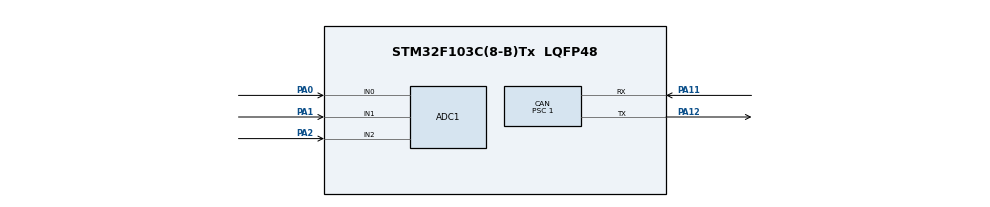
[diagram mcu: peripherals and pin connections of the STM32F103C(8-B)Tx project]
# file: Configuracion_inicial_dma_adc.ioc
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ADC1.Channel-1\#ChannelRegularConversion=ADC_CHANNEL_0
ADC1.Channel-2\#ChannelRegularConversion=ADC_CHANNEL_1
ADC1.Channel-3\#ChannelRegularConversion=ADC_CHANNEL_2
ADC1.ContinuousConvMode=ENABLE
ADC1.NbrOfConversion=3
ADC1.NbrOfConversionFlag=1
ADC1.Rank-1\#ChannelRegularConversion=1
ADC1.Rank-2\#ChannelRegularConversion=2
ADC1.Rank-3\#ChannelRegularConversion=3
ADC1.SamplingTime-1\#ChannelRegularConversion=ADC_SAMPLETIME_239CYCLES_5
ADC1.SamplingTime-2\#ChannelRegularConversion=ADC_SAMPLETIME_239CYCLES_5
ADC1.SamplingTime-3\#ChannelRegularConversion=ADC_SAMPLETIME_239CYCLES_5
ADC1.master=1
CAN.ABOM=ENABLE
CAN.BS1=CAN_BS1_13TQ
CAN.BS2=CAN_BS2_2TQ
CAN.CalculateBaudRate=500000
CAN.CalculateTimeBit=2000
CAN.CalculateTimeQuantum=125.0
CAN.Mode=CAN_MODE_LOOPBACK
CAN.Prescaler=1
Dma.ADC1.0.Direction=DMA_PERIPH_TO_MEMORY
Dma.ADC1.0.Instance=DMA1_Channel1
Dma.ADC1.0.MemDataAlignment=DMA_MDATAALIGN_HALFWORD
Dma.ADC1.0.MemInc=DMA_MINC_ENABLE
Dma.ADC1.0.Mode=DMA_CIRCULAR
Dma.ADC1.0.PeriphDataAlignment=DMA_PDATAALIGN_HALFWORD
Dma.ADC1.0.PeriphInc=DMA_PINC_DISABLE
Dma.ADC1.0.Priority=DMA_PRIORITY_VERY_HIGH
Dma.Request0=ADC1
Mcu.Family=STM32F1
Mcu.Name=STM32F103C(8-B)Tx
Mcu.Package=LQFP48
NVIC.DMA1_Channel1_IRQn=true\:0\:0\:false\:false\:true\:false\:true\:true
NVIC.PriorityGroup=NVIC_PRIORITYGROUP_4
NVIC.TIM2_IRQn=true\:1\:0\:true\:false\:true\:true\:true\:true
PA0-WKUP.Signal=ADCx_IN0
PA1.Signal=ADCx_IN1
PA11.Mode=CAN_Activate
PA11.Signal=CAN_RX
PA12.Mode=CAN_Activate
PA12.Signal=CAN_TX
PA13.Mode=Serial_Wire
PA13.Signal=SYS_JTMS-SWDIO
PA14.Mode=Serial_Wire
PA14.Signal=SYS_JTCK-SWCLK
PA2.Signal=ADCx_IN2
PD0-OSC_IN.Mode=HSE-External-Oscillator
PD0-OSC_IN.Signal=RCC_OSC_IN
PD1-OSC_OUT.Mode=HSE-External-Oscillator
PD1-OSC_OUT.Signal=RCC_OSC_OUT
ProjectManager.HeapSize=0x200
ProjectManager.StackSize=0x400
ProjectManager.TargetToolchain=CMake
RCC.APB1Freq_Value=8000000
RCC.APB2Freq_Value=8000000
RCC.SYSCLKSource=RCC_SYSCLKSOURCE_HSE
SH.ADCx_IN0.0=ADC1_IN0,IN0
SH.ADCx_IN1.0=ADC1_IN1,IN1
SH.ADCx_IN2.0=ADC1_IN2,IN2
TIM2.Period=499
TIM2.Prescaler=7999
VP_TIM2_VS_ClockSourceINT.Mode=Internal
board=custom

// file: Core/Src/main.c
/* USER CODE BEGIN Header */
/**
  ******************************************************************************
  * @file           : main.c
  * @brief          : Main program body
  ******************************************************************************
  * @attention
  *
  * Copyright (c) 2026 STMicroelectronics.
  * All rights reserved.
  *
  * This software is licensed under terms that can be found in the LICENSE file
  * in the root directory of this software component.
  * If no LICENSE file comes with this software, it is provided AS-IS.
  *
  ******************************************************************************
  */
/* USER CODE END Header */
#include "main.h"

ADC_HandleTypeDef hadc1;
DMA_HandleTypeDef hdma_adc1;

CAN_HandleTypeDef hcan;

TIM_HandleTypeDef htim2;

/* USER CODE BEGIN PV */
volatile uint16_t adc_buf[3];   // [0]=APPS1 [1]=APPS2 [2]=BSE.
CAN_TxHeaderTypeDef txHeader;   // ID, tipo, cantidad de bytes
uint8_t  txData[8];             // Contenido, se usan 6 de los 8
uint32_t txMailbox;             // "buzon" de la trama
/* USER CODE END PV */

void SystemClock_Config(void);
static void MX_GPIO_Init(void);
static void MX_DMA_Init(void);
static void MX_ADC1_Init(void);
static void MX_CAN_Init(void);
static void MX_TIM2_Init(void);

int main(void)
{

  /* MCU Configuration--------------------------------------------------------*/

  /* Reset of all peripherals, Initializes the Flash interface and the Systick. */
  HAL_Init();

  /* Configure the system clock */
  SystemClock_Config();

  /* Initialize all configured peripherals */
  MX_GPIO_Init();
  MX_DMA_Init();
  MX_ADC1_Init();
  MX_CAN_Init();
  MX_TIM2_Init();
  /* USER CODE BEGIN 2 */
  HAL_ADCEx_Calibration_Start(&hadc1); // autocalibracion adc
  HAL_ADC_Start_DMA(&hadc1, (uint32_t*)adc_buf, 3);    // arranca ADC + DMA

  txHeader.StdId = 0x100;              // ID de la trama
  txHeader.IDE   = CAN_ID_STD;         // ID estándar de 11 bits
  txHeader.RTR   = CAN_RTR_DATA;       // trama con datos
  txHeader.DLC   = 6;                  // lleva 6 bytes
  txHeader.TransmitGlobalTime = DISABLE;

  HAL_CAN_Start(&hcan);                // prende el CAN
  HAL_TIM_Base_Start_IT(&htim2);
  /* USER CODE END 2 */

  /* Infinite loop */
  while (1)
  {

  }
}

void SystemClock_Config(void)
{
  RCC_OscInitTypeDef RCC_OscInitStruct = {0};
  RCC_ClkInitTypeDef RCC_ClkInitStruct = {0};
  RCC_PeriphCLKInitTypeDef PeriphClkInit = {0};

  /** Initializes the RCC Oscillators according to the specified parameters
  * in the RCC_OscInitTypeDef structure.
  */
  RCC_OscInitStruct.OscillatorType = RCC_OSCILLATORTYPE_HSE;
  RCC_OscInitStruct.HSEState = RCC_HSE_ON;
  RCC_OscInitStruct.PLL.PLLState = RCC_PLL_NONE;
  if (HAL_RCC_OscConfig(&RCC_OscInitStruct) != HAL_OK)
  {
    Error_Handler();
  }

  /** Initializes the CPU, AHB and APB buses clocks
  */
  RCC_ClkInitStruct.ClockType = RCC_CLOCKTYPE_HCLK|RCC_CLOCKTYPE_SYSCLK
                              |RCC_CLOCKTYPE_PCLK1|RCC_CLOCKTYPE_PCLK2;
  RCC_ClkInitStruct.SYSCLKSource = RCC_SYSCLKSOURCE_HSE;
  RCC_ClkInitStruct.AHBCLKDivider = RCC_SYSCLK_DIV1;
  RCC_ClkInitStruct.APB1CLKDivider = RCC_HCLK_DIV1;
  RCC_ClkInitStruct.APB2CLKDivider = RCC_HCLK_DIV1;

  if (HAL_RCC_ClockConfig(&RCC_ClkInitStruct, FLASH_LATENCY_0) != HAL_OK)
  {
    Error_Handler();
  }
  PeriphClkInit.PeriphClockSelection = RCC_PERIPHCLK_ADC;
  PeriphClkInit.AdcClockSelection = RCC_ADCPCLK2_DIV2;
  if (HAL_RCCEx_PeriphCLKConfig(&PeriphClkInit) != HAL_OK)
  {
    Error_Handler();
  }
}

static void MX_ADC1_Init(void)
{

  ADC_ChannelConfTypeDef sConfig = {0};

  /** Common config
  */
  hadc1.Instance = ADC1;
  hadc1.Init.ScanConvMode = ADC_SCAN_ENABLE;
  hadc1.Init.ContinuousConvMode = ENABLE;
  hadc1.Init.DiscontinuousConvMode = DISABLE;
  hadc1.Init.ExternalTrigConv = ADC_SOFTWARE_START;
  hadc1.Init.DataAlign = ADC_DATAALIGN_RIGHT;
  hadc1.Init.NbrOfConversion = 3;
  if (HAL_ADC_Init(&hadc1) != HAL_OK)
  {
    Error_Handler();
  }

  /** Configure Regular Channel
  */
  sConfig.Channel = ADC_CHANNEL_0;
  sConfig.Rank = ADC_REGULAR_RANK_1;
  sConfig.SamplingTime = ADC_SAMPLETIME_239CYCLES_5;
  if (HAL_ADC_ConfigChannel(&hadc1, &sConfig) != HAL_OK)
  {
    Error_Handler();
  }

  /** Configure Regular Channel
  */
  sConfig.Channel = ADC_CHANNEL_1;
  sConfig.Rank = ADC_REGULAR_RANK_2;
  if (HAL_ADC_ConfigChannel(&hadc1, &sConfig) != HAL_OK)
  {
    Error_Handler();
  }

  /** Configure Regular Channel
  */
  sConfig.Channel = ADC_CHANNEL_2;
  sConfig.Rank = ADC_REGULAR_RANK_3;
  if (HAL_ADC_ConfigChannel(&hadc1, &sConfig) != HAL_OK)
  {
    Error_Handler();
  }

}

static void MX_CAN_Init(void)
{

  /* USER CODE BEGIN CAN_Init 0 */
  __HAL_RCC_CAN1_CLK_ENABLE();            // le da reloj al CAN (si no, no responde a nada)
  CLEAR_BIT(CAN1->MCR, CAN_MCR_SLEEP);    // lo despierta: saca el bit SLEEP
  /* USER CODE END CAN_Init 0 */

  hcan.Instance = CAN1;
  hcan.Init.Prescaler = 1;
  hcan.Init.Mode = CAN_MODE_LOOPBACK;
  hcan.Init.SyncJumpWidth = CAN_SJW_1TQ;
  hcan.Init.TimeSeg1 = CAN_BS1_13TQ;
  hcan.Init.TimeSeg2 = CAN_BS2_2TQ;
  hcan.Init.TimeTriggeredMode = DISABLE;
  hcan.Init.AutoBusOff = ENABLE;
  hcan.Init.AutoWakeUp = DISABLE;
  hcan.Init.AutoRetransmission = DISABLE;
  hcan.Init.ReceiveFifoLocked = DISABLE;
  hcan.Init.TransmitFifoPriority = DISABLE;
  if (HAL_CAN_Init(&hcan) != HAL_OK)
  {
    Error_Handler();
  }

}

static void MX_TIM2_Init(void)
{

  TIM_ClockConfigTypeDef sClockSourceConfig = {0};
  TIM_MasterConfigTypeDef sMasterConfig = {0};

  htim2.Instance = TIM2;
  htim2.Init.Prescaler = 7999;
  htim2.Init.CounterMode = TIM_COUNTERMODE_UP;
  htim2.Init.Period = 499;
  htim2.Init.ClockDivision = TIM_CLOCKDIVISION_DIV1;
  htim2.Init.AutoReloadPreload = TIM_AUTORELOAD_PRELOAD_DISABLE;
  if (HAL_TIM_Base_Init(&htim2) != HAL_OK)
  {
    Error_Handler();
  }
  sClockSourceConfig.ClockSource = TIM_CLOCKSOURCE_INTERNAL;
  if (HAL_TIM_ConfigClockSource(&htim2, &sClockSourceConfig) != HAL_OK)
  {
    Error_Handler();
  }
  sMasterConfig.MasterOutputTrigger = TIM_TRGO_RESET;
  sMasterConfig.MasterSlaveMode = TIM_MASTERSLAVEMODE_DISABLE;
  if (HAL_TIMEx_MasterConfigSynchronization(&htim2, &sMasterConfig) != HAL_OK)
  {
    Error_Handler();
  }

}

static void MX_DMA_Init(void)
{

  /* DMA controller clock enable */
  __HAL_RCC_DMA1_CLK_ENABLE();

  /* DMA interrupt init */
  /* DMA1_Channel1_IRQn interrupt configuration */
  HAL_NVIC_SetPriority(DMA1_Channel1_IRQn, 0, 0);
  HAL_NVIC_EnableIRQ(DMA1_Channel1_IRQn);

}

static void MX_GPIO_Init(void)
{

  /* GPIO Ports Clock Enable */
  __HAL_RCC_GPIOD_CLK_ENABLE();
  __HAL_RCC_GPIOA_CLK_ENABLE();

}

/* USER CODE BEGIN 4 */
/* USER CODE BEGIN 4 */
void HAL_TIM_PeriodElapsedCallback(TIM_HandleTypeDef *htim)
{
  if (htim->Instance == TIM2) {                       // solo si la que sonó es la del TIM2
    uint16_t a1 = adc_buf[0], a2 = adc_buf[1], b = adc_buf[2];

    txData[0] = a1 >> 8;  txData[1] = a1 & 0xFF;
    txData[2] = a2 >> 8;  txData[3] = a2 & 0xFF;
    txData[4] = b  >> 8;  txData[5] = b  & 0xFF;

    if (HAL_CAN_GetTxMailboxesFreeLevel(&hcan) > 0) {
      HAL_CAN_AddTxMessage(&hcan, &txHeader, txData, &txMailbox);
    }
  }
}
/* USER CODE END 4 */

void Error_Handler(void)
{
  __disable_irq();
  while (1)
  {
  }
}
